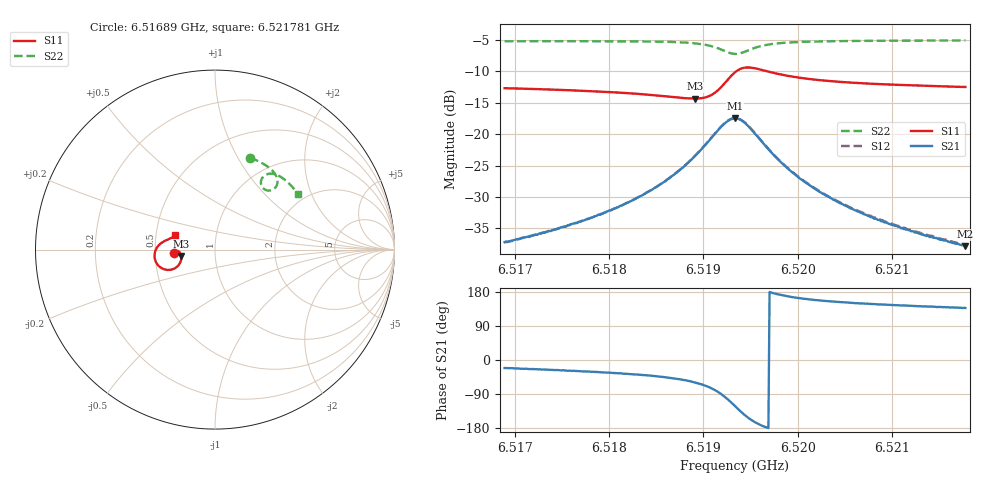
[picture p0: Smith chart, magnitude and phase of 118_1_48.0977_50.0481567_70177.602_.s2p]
#  HZ  S  RI  R  50.00
! Rohde & Schwarz Vector Network Analyzer
! Rohde-Schwarz,ZNB20-2Port,1311601062101988,3.16
! Created: UTC 12/23/2023, 3:46:28 AM
! freq[Hz]  re:S11  im:S11  re:S21  im:S21  re:S12  im:S12  re:S22  im:S22
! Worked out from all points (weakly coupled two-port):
!   401 points, 6.51689 GHz to 6.521781 GHz, reference 50 ohm
!   highest |S21| = -17.50 dB at 6.519336 GHz (marker M1); lowest = -37.8 dB at 6.521781 GHz (marker M2)
!   lowest |S11| = -14.3 dB at 6.518908 GHz (marker M3), VSWR 1.47, Z = 34.1 - j2.47 ohm
!   |S11| at or under -10 dB: start of sweep to 6.519349 GHz; 6.519678 GHz to end of sweep
!   |S22| runs from -7.2 to -5.1 dB; largest |S21 - S12| = 0.0041
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6.5168902e9  -0.2312 -0.0193  0.0129 -0.00498  0.013 -0.00454  0.1956 0.5122
6.5172937e9  -0.2269 -0.0132  0.0149 -0.00696  0.0151 -0.00642  0.2254 0.5
6.5177095e9  -0.2213 -0.0081  0.0176 -0.0102  0.0181 -0.00948  0.2561 0.485
6.5181619e9  -0.2126 -0.00569  0.0225 -0.0164  0.023 -0.0155  0.2901 0.4645
6.5185287e9  -0.2021 -0.00961  0.0284 -0.027  0.0293 -0.0262  0.3184 0.4412
6.5187366e9  -0.1945 -0.0186  0.0325 -0.039  0.0338 -0.0383  0.3344 0.4219
6.5189078e9  -0.1885 -0.0349  0.0343 -0.0569  0.0363 -0.0564  0.3456 0.399
6.5190178e9  -0.1882 -0.0536  0.0313 -0.0752  0.0338 -0.0748  0.3484 0.3784
6.5191034e9  -0.195 -0.0745  0.022 -0.0943  0.0249 -0.0942  0.3441 0.3583
6.5192379e9  -0.236 -0.1096  -0.0201 -0.1221  -0.0165 -0.1237  0.3126 0.3303
6.5193357e9  -0.2919 -0.1063  -0.0699 -0.1136  -0.0672 -0.1164  0.2745 0.3369
6.5193969e9  -0.3209 -0.0825  -0.0933 -0.0899  -0.0914 -0.0933  0.2588 0.3567
6.519458e9  -0.3351 -0.0515  -0.1026 -0.0615  -0.1016 -0.065  0.2561 0.3799
6.5195558e9  -0.3328 -0.00891  -0.096 -0.0253  -0.0961 -0.0283  0.2698 0.4073
6.5196536e9  -0.319 0.0175  -0.0812 -0.00516  -0.0818 -0.00751  0.2899 0.4198
6.519886e9  -0.2885 0.0436  -0.0529 0.0109  -0.0538 0.00946  0.3292 0.4213
6.520155e9  -0.2675 0.0538  -0.0355 0.0135  -0.0363 0.0126  0.3597 0.409
6.5203384e9  -0.2582 0.0578  -0.0285 0.0133  -0.0291 0.0125  0.3755 0.3989
6.5205585e9  -0.2498 0.0614  -0.0226 0.0124  -0.0233 0.0119  0.392 0.3864
6.5209742e9  -0.2385 0.0674  -0.0159 0.0109  -0.0165 0.0106  0.4185 0.362
6.521341e9  -0.2312 0.0726  -0.0123 0.00974  -0.013 0.00963  0.4386 0.3398
6.5217812e9  -0.2238 0.0788  -0.00944 0.00872  -0.00996 0.00857  0.4601 0.3125
